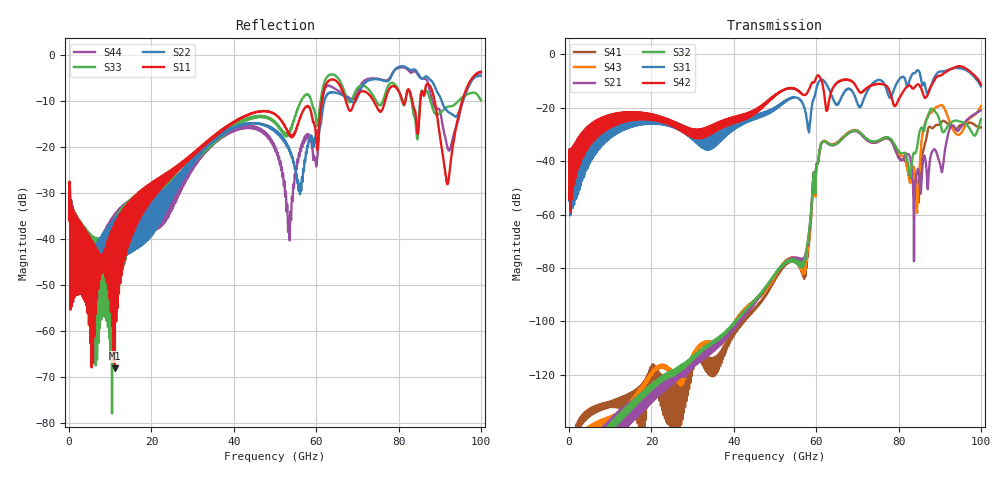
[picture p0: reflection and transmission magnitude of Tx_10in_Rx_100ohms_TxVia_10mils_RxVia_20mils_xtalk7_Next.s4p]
! Info: Touchstone file created by Circ.  Input file=Tx_10in_Rx_100ohms_TxVia_10mils_RxVia_20mils.circ
# Hz S RI R 50
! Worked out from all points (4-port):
!   10000 points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, 10 MHz to 100 GHz, reference 50 ohm
!   strongest paths, dB at 10 MHz, 25.01 GHz, 50.01 GHz, 75.01 GHz, 100 GHz:
!     S42: -54.2, -25.4, -15.5, -11.2, -11.3
!     S31: -54.9, -25.7, -20.6, -9.7, -12.0
!     S32: -, -118.5, -82.6, -32.4, -24.3
!     S21: -, -119.6, -82.6, -32.7, -21.0
!     S43: -153.8, -118.3, -83.3, -32.4, -19.4
!     S41: -153.9, -123.1, -84.5, -32.8, -27.4
!   lowest |S11| = -68.2 dB at 11.12 GHz (marker M1), VSWR 1.00, Z = 50 + j0.00647 ohm
!   |S11| at or under -10 dB: start of sweep to 61.39 GHz; 73.9 GHz to 76.76 GHz (2.866 GHz wide, 3.8 % of centre); 88.77 GHz to 95.48 GHz (6.707 GHz wide, 7.28 % of centre)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
1e7  0.0143 0.00673  3.59e-11 -5.43e-11  0.000286 0.00179  -5.64e-09 1.93e-08
     3.59e-11 -5.43e-11  0.0153 0.00648  2.1e-12 -7.76e-11  0.000637 0.00183
     0.000286 0.00179  2.1e-12 -7.76e-11  0.0149 0.00645  -7.59e-09 1.9e-08
     -5.64e-09 1.93e-08  0.000638 0.00183  -7.59e-09 1.9e-08  0.0152 0.00649
1.112e10  -0.000385 6.47e-05  -5.13e-08 4.15e-08  0.0657 0.0222  2.27e-07 -1.01e-07
          -5.13e-08 4.15e-08  0.0067 0.00332  -6.2e-08 1.12e-07  0.0764 0.0132
          0.0657 0.0222  -6.2e-08 1.12e-07  -0.00352 -0.00384  -7.16e-08 6.2e-08
          2.27e-07 -1.01e-07  0.0764 0.0132  -7.16e-08 6.2e-08  0.00569 0.00504
5.692e10  0.2002 -0.1469  0.000146 3.92e-05  0.0478 0.1004  8.56e-05 -1.64e-05
          0.000146 3.92e-05  -0.0482 0.0296  0.000122 4.76e-05  0.1131 0.1304
          0.0478 0.1004  0.000122 4.76e-05  0.3051 -0.16  9.9e-05 -2.73e-06
          8.56e-05 -1.64e-05  0.1131 0.1304  9.9e-05 -2.73e-06  -0.0686 -0.084
6.164e10  0.2989 -0.2157  -0.00134 -0.023  0.2946 0.1403  -0.0019 -0.0233
          -0.00134 -0.023  -0.2029 -0.1698  -0.00251 -0.0229  0.0447 -0.2519
          0.2946 0.1403  -0.00251 -0.0229  0.3246 -0.2988  -0.00307 -0.0231
          -0.0019 -0.0233  0.0447 -0.2519  -0.00307 -0.0231  -0.3028 -0.1824
8.45e10  0.1498 -0.0327  0.00533 -0.00335  -0.5002 -0.0117  0.00275 0.000964
         0.00533 -0.00335  -0.6363 -0.1315  -0.0176 0.00282  0.0109 0.2693
         -0.5002 -0.0117  -0.0176 0.00282  0.1214 -0.0186  -0.00107 0.00024
         0.00275 0.000964  0.0109 0.2693  -0.00107 0.00024  -0.6035 -0.1663
8.743e10  0.2221 -0.4157  -0.00102 0.00722  -0.0997 0.1739  0.0274 0.0344
          -0.00102 0.00722  -0.4321 0.3367  0.068 0.0417  0.0624 0.2038
          -0.0997 0.1739  0.068 0.0417  -0.1423 -0.3209  0.0606 0.0489
          0.0274 0.0344  0.0624 0.2038  0.0606 0.0489  -0.2855 0.3264
1e11  -0.656 0.00245  0.0381 -0.0809  0.0618 0.2437  -0.0425 -0.00245
      0.0381 -0.0809  -0.5911 0.0388  0.0232 -0.0561  0.0989 0.2526
      0.0618 0.2437  0.0232 -0.0561  -0.2765 0.1603  0.00568 -0.1066
      -0.0425 -0.00245  0.0989 0.2526  0.00568 -0.1066  -0.6321 0.0866
